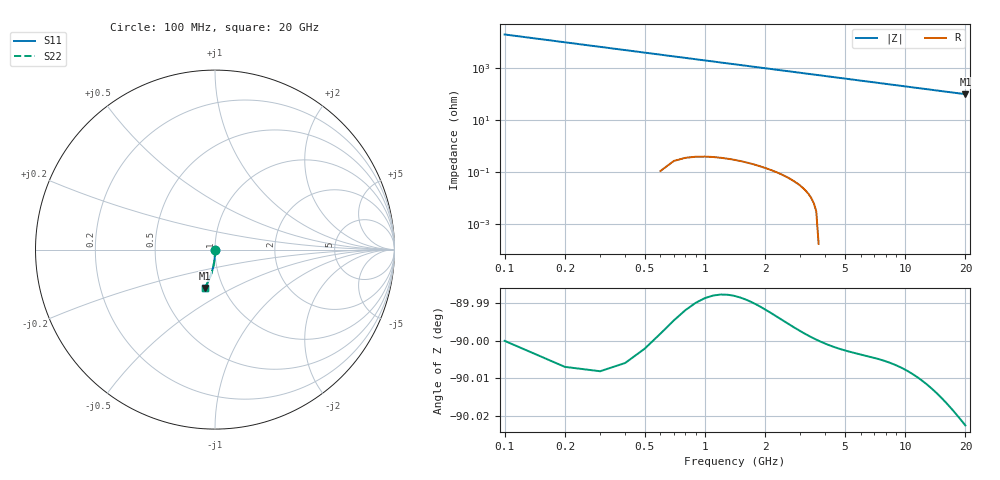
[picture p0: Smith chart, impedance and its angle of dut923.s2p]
! Touchstone file exported from HFSS 2026.1.0
!  File:  C:/ffzhzh/LocalFiles/Ansys_Project_Files/temp_train_TSV_923_1783186660_55132.aedt
!  Generated:  01:38:55 AM Jul  5, 2026
!  Design:  TSV
!  Project:  temp_train_TSV_923_1783186660_55132
! Variables:
!  h_bsmrdl = 2um
!  h_ox = 20um
!  h_rdl = 5um
!  h_sub = 96.32um
!  h_tmrdl = 5um
!  h_tsv = 96.32um
!  h_via = 3um
!  l_bsmrdl = 300um
!  l_sub = 425.2um
!  l_tmrdl = 200um
!  m_sub = 200um
!  pitch = 27.07um
!  r_tsv = 12.6um
!  s_tmrdl = 10um
!  w_bsmrdl = 18um
!  w_sub = 500um
!  w_tmrdl = 12um
!  x_tsv_center1 = 206um
!  x_tsv_center2 = 524um
!  x_tsv_center3 = 736um
!  x_tsv_center4 = 1054um
!  x_tsv_center5 = 1266um
!  x_tsv_center6 = 1584um
# GHz S MA R 50.000000
! Terminal data exported
! Port[1] = TSV1_1_T1
! Port[2] = TSV1_1_T2
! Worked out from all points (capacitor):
!   200 points, 100 MHz to 20 GHz, reference 50 ohm
!   read as one part in shunt: C = 80.3 fF near 200 MHz
!   lowest |Z| = 99.5 ohm at 20 GHz (marker M1)
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0.1  0.001059 -82.9  0.9999 -0.1  0.9999 -0.1  0.001059 -82.9
! Gamma 0 0 0 0
! Port Impedance 50 0 50 0
0.2  0.002117 -85.7  0.9998 -0.2  0.9998 -0.2  0.002117 -85.7
0.3  0.003193 -86.5  0.9998 -0.3  0.9998 -0.3  0.003193 -86.5
0.4  0.004287 -86.8  0.9997 -0.3  0.9997 -0.3  0.004287 -86.8
0.5  0.005394 -87.1  0.9997 -0.4  0.9997 -0.4  0.005394 -87.1
0.7  0.007636 -87.6  0.9996 -0.6  0.9996 -0.6  0.007636 -87.6
0.8  0.008765 -87.8  0.9995 -0.7  0.9995 -0.7  0.008765 -87.8
1  0.01103 -88.3  0.9994 -0.8  0.9994 -0.8  0.01103 -88.3
1.2  0.0133 -88.6  0.9994 -1.0  0.9994 -1.0  0.0133 -88.6
1.4  0.01557 -89.0  0.9993 -1.1  0.9993 -1.1  0.01557 -89.0
1.7  0.01896 -89.5  0.9992 -1.4  0.9992 -1.4  0.01896 -89.5
2  0.02236 -89.9  0.9991 -1.6  0.9991 -1.6  0.02236 -89.9
2.7  0.03029 -90.7  0.9988 -2.2  0.9988 -2.2  0.03029 -90.7
3.5  0.03935 -91.5  0.9983 -2.8  0.9983 -2.8  0.03935 -91.5
4.2  0.04728 -92.2  0.9979 -3.4  0.9979 -3.4  0.04728 -92.2
5  0.05634 -92.9  0.9973 -4.0  0.9973 -4.0  0.05634 -92.9
6.8  0.07671 -94.4  0.9958 -5.4  0.9958 -5.4  0.07671 -94.4
8.3  0.09362 -95.7  0.9942 -6.6  0.9942 -6.6  0.09362 -95.7
10.1  0.1138 -97.2  0.9919 -8.0  0.9919 -8.0  0.1138 -97.2
13.4  0.1504 -99.8  0.9867 -10.5  0.9867 -10.5  0.1504 -99.8
16.7  0.1863 -102.4  0.9803 -13.1  0.9803 -13.1  0.1863 -102.4
20  0.2214 -105.0  0.9727 -15.6  0.9727 -15.6  0.2214 -105.0
